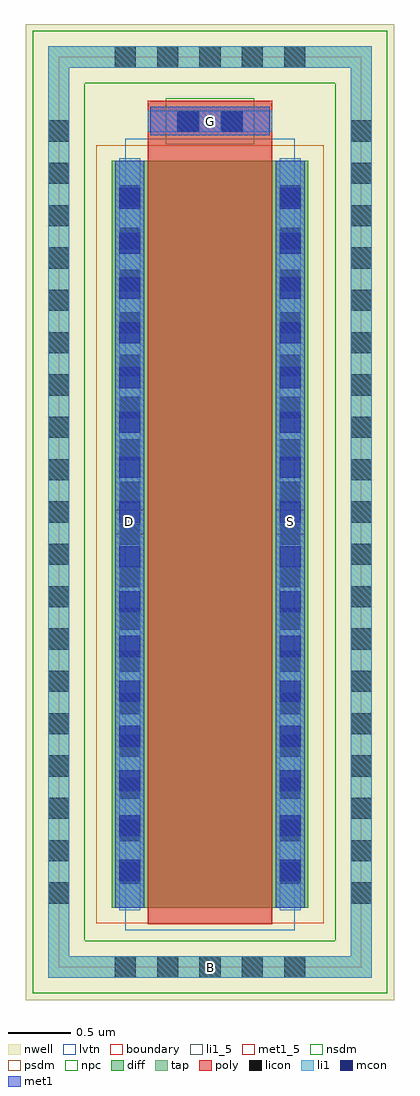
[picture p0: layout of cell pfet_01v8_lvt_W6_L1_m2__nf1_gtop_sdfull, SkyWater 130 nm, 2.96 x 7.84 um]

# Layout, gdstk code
import gdstk
lib = gdstk.Library(unit=1e-6, precision=1e-09)
def R(c, l, rs):  # rectangles x0, y0, x1, y1
    for r in rs: c.add(gdstk.rectangle(r[:2], r[2:], *l))
def A(c, l, x, y, w, h, nx, ny, dx, dy):  # array of equal rectangles
    R(c, l, [(x+i*dx, y+j*dy, x+i*dx+w, y+j*dy+h) for i in range(nx) for j in range(ny)])
nwell = (64, 20)
diff = (65, 20)
tap = (65, 44)
poly = (66, 20)
licon = (66, 44)
li1_5 = (67, 5)
li1 = (67, 20)
mcon = (67, 44)
met1_5 = (68, 5)
met1 = (68, 20)
nsdm = (93, 44)
psdm = (94, 20)
npc = (95, 20)
lvtn = (125, 44)
boundary = (235, 4)

sky130_fd_pr__pfet_01v8_ = lib.new_cell('sky130_fd_pr__pfet_01v8_lvt_ZZTXJ2')
R(sky130_fd_pr__pfet_01v8_, nwell, [(-1.48,-3.92,1.48,3.92)])
R(sky130_fd_pr__pfet_01v8_, diff, [(-0.79,-3.18,0.79,2.82)])
R(sky130_fd_pr__pfet_01v8_, tap, [(-1.3,-3.74,1.3,-3.57), (-1.3,-3.57,-1.13,3.57), (1.13,-3.57,1.3,3.57), (-1.3,3.57,1.3,3.74)])
R(sky130_fd_pr__pfet_01v8_, poly, [(-0.5,-3.31,0.5,3.305)])
A(sky130_fd_pr__pfet_01v8_, licon, -0.765, -3.74, 0.17, 0.17, 5, 2, 0.34, 7.31)
A(sky130_fd_pr__pfet_01v8_, licon, -1.3, -3.145, 0.17, 0.17, 1, 19, 0, 0.34)
A(sky130_fd_pr__pfet_01v8_, licon, 1.13, -3.145, 0.17, 0.17, 1, 19, 0, 0.34)
A(sky130_fd_pr__pfet_01v8_, licon, -0.73, -2.985, 0.17, 0.17, 1, 17, 0, 0.34)
A(sky130_fd_pr__pfet_01v8_, licon, 0.56, -2.985, 0.17, 0.17, 1, 17, 0, 0.34)
R(sky130_fd_pr__pfet_01v8_, licon, [(-0.255,3.055,-0.085,3.225), (0.085,3.055,0.255,3.225)])
R(sky130_fd_pr__pfet_01v8_, li1, [(-1.3,-3.74,1.3,-3.57), (-1.3,-3.57,-1.13,3.57), (1.13,-3.57,1.3,3.57), (-0.73,-3.2,-0.56,2.84), (0.56,-3.2,0.73,2.84), (-0.5,3.055,0.5,3.225), (-1.3,3.57,1.3,3.74)])
A(sky130_fd_pr__pfet_01v8_, mcon, -0.73, -2.965, 0.17, 0.17, 1, 16, 0, 0.36)
A(sky130_fd_pr__pfet_01v8_, mcon, 0.56, -2.965, 0.17, 0.17, 1, 16, 0, 0.36)
R(sky130_fd_pr__pfet_01v8_, mcon, [(-0.265,3.055,-0.095,3.225), (0.095,3.055,0.265,3.225)])
R(sky130_fd_pr__pfet_01v8_, met1, [(-0.76,-3.18,-0.53,2.82), (0.53,-3.18,0.76,2.82), (-0.48,3.025,0.48,3.255)])
R(sky130_fd_pr__pfet_01v8_, nsdm, [(-1.425,-3.865,1.425,-3.445), (-1.425,-3.445,-1.005,3.445), (1.005,-3.445,1.425,3.445), (-1.425,3.445,1.425,3.865)])
R(sky130_fd_pr__pfet_01v8_, psdm, [(-0.915,-3.305,0.915,2.945)])
R(sky130_fd_pr__pfet_01v8_, npc, [(-0.355,2.955,0.355,3.325)])
R(sky130_fd_pr__pfet_01v8_, lvtn, [(-0.68,-3.36,0.68,3)])
R(sky130_fd_pr__pfet_01v8_, boundary, [(-1.215,-3.655,1.215,3.655)])
sky130_fd_pr__pfet_01v8_.add(gdstk.Label('B', (0,-3.655), layer=67, texttype=5))
sky130_fd_pr__pfet_01v8_.add(gdstk.Label('D', (-0.645,-0.18), layer=67, texttype=5))
sky130_fd_pr__pfet_01v8_.add(gdstk.Label('S', (0.645,-0.18), layer=67, texttype=5))
sky130_fd_pr__pfet_01v8_.add(gdstk.Label('G', (0,3.14), layer=67, texttype=5))

pfet_01v8_lvt_w6_l1_m2__ = lib.new_cell('pfet_01v8_lvt_W6_L1_m2__nf1_gtop_sdfull')
R(pfet_01v8_lvt_w6_l1_m2__, li1_5, [(1.13,-0.085,1.3,0.085)])
R(pfet_01v8_lvt_w6_l1_m2__, li1, [(1.13,-0.085,1.3,0.085)])
R(pfet_01v8_lvt_w6_l1_m2__, met1_5, [(0.455,3.475,0.685,3.675), (1.745,3.475,1.975,3.675), (0.735,6.68,1.695,6.91)])
R(pfet_01v8_lvt_w6_l1_m2__, met1, [(0.455,3.475,0.685,3.675), (1.745,3.475,1.975,3.675), (0.735,6.68,1.695,6.91)])
pfet_01v8_lvt_w6_l1_m2__.add(gdstk.Reference(sky130_fd_pr__pfet_01v8_, (1.215,3.655)))
pfet_01v8_lvt_w6_l1_m2__.add(gdstk.Label('D', (0.57,3.575), layer=68, texttype=5))
pfet_01v8_lvt_w6_l1_m2__.add(gdstk.Label('S', (1.86,3.575), layer=68, texttype=5))
pfet_01v8_lvt_w6_l1_m2__.add(gdstk.Label('G', (1.215,6.795), layer=68, texttype=5))
pfet_01v8_lvt_w6_l1_m2__.add(gdstk.Label('B', (1.215,0), layer=67, texttype=5))

lib.write_gds('pfet_01v8_lvt_W6_L1_m2__nf1_gtop_sdfull.gds')
